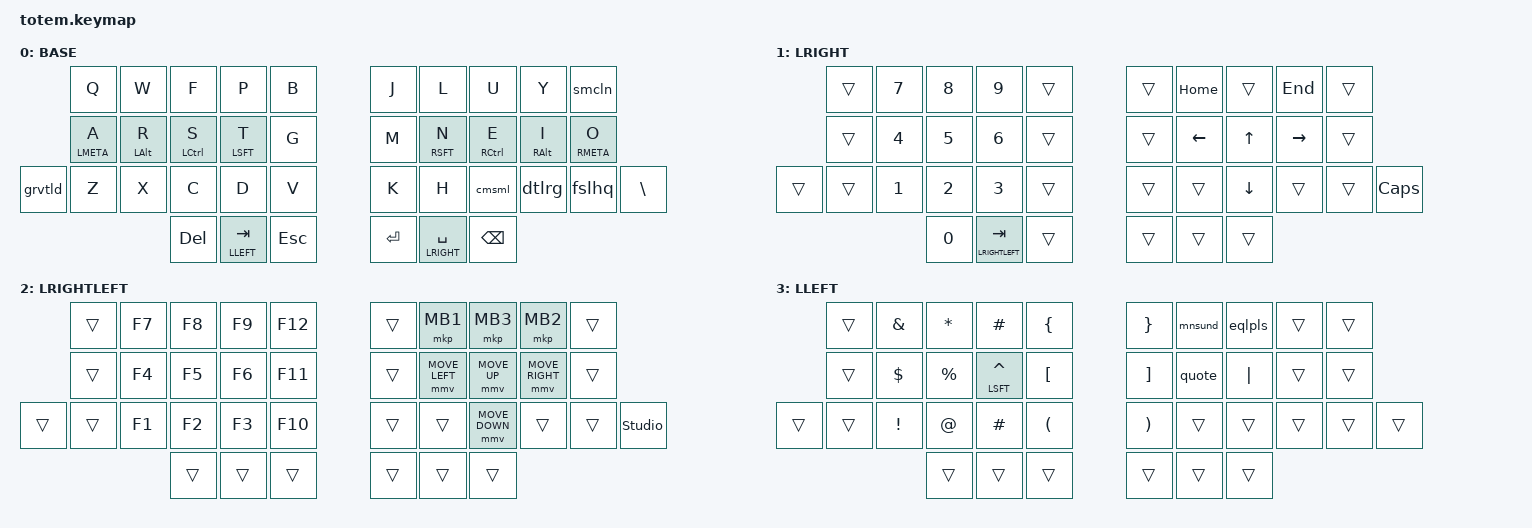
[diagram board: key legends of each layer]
//
//                                                        ▀▀▀▀▀     ▀▀▀▀▀          ▀▀█▀▀
//                                                        ▄▀▀▀▄  ▄  ▄▀▀▀▄  ▄  ▄▀▀▀▄  █  ▄▀▀▀▄
//                                                        █   █  █  █   █  █  █   █  █  █   █
//                                                         ▀▀▀   █   ▀▀▀   █   ▀▀▀   ▀   ▀▀▀
//                                                               █      ▄▄▄█▄▄▄    █   █  
//                                                               ▀      █  █  █     █▄█
//                                                             ▀▀▀▀▀    █  █  █      ▀
//                                                                      ▀  ▀  ▀
//
// ▄▄▄▄▄▄▄▄▄▄▄▄▄▄▄▄▄▄▄▄▄▄▄▄▄▄▄▄▄▄▄▄▄▄▄▄▄▄▄▄▄▄▄▄▄▄▄▄▄▄▄▄▄▄▄▄▄▄▄▄▄▄▄▄▄▄▄▄▄▄▄▄▄▄▄▄▄▄▄▄▄▄▄▄▄▄▄▄▄▄▄▄▄▄▄▄▄▄▄▄▄▄▄▄▄▄▄▄▄▄▄▄▄▄▄▄▄▄▄▄▄▄▄▄▄▄▄▄▄▄▄▄▄▄▄▄▄▄▄▄▄▄▄▄▄▄▄▄▄
       

#include <behaviors.dtsi>
#include <dt-bindings/zmk/keys.h>
#include <dt-bindings/zmk/pointing.h>
#include <dt-bindings/zmk/bt.h>
#include <dt-bindings/zmk/outputs.h>

#define BASE    0
#define LRIGHT  1
#define LRIGHTLEFT  2
#define LLEFT   3

&mt {
  quick-tap-ms = <100>;
  global-quick-tap;
  flavor = "tap-preferred";
  tapping-term-ms = <170>;
};

/ {
    // combos {
    //        compatible = "zmk,combos";
    //        combo_esc {
    //            timeout-ms = <50>;
    //            key-positions = <0 1>;
    //            bindings = <&kp ESC>;
    //        };
    //        combo_tvp {
    //            timeout-ms = <100>;
    //            key-positions = <11 12 13>;
    //            bindings = <&tog TVP1>;
    //        };
    // };

    behaviors {
        smcln: semicolon_colon {
            compatible = "zmk,behavior-mod-morph";
            #binding-cells = <0>;
            bindings = <&kp SEMICOLON>, <&kp COLON>;
            mods = <(MOD_LSFT|MOD_RSFT)>;
        };
        mt_smcln: mt_semicolon_colon {
            compatible = "zmk,behavior-hold-tap";
            #binding-cells = <2>;
            bindings = <&kp>, <&smcln>;
            tapping-term-ms = <170>;
        };
        cmsml: comma_smaller_than {
            compatible = "zmk,behavior-mod-morph";
            #binding-cells = <0>;
            bindings = <&kp COMMA>, <&kp LESS_THAN>;
            mods = <(MOD_LSFT|MOD_RSFT)>;
        };
        dtlrg: dot_larger_than {
            compatible = "zmk,behavior-mod-morph";
            #binding-cells = <0>;
            bindings = <&kp DOT>, <&kp GREATER_THAN>;
            mods = <(MOD_LSFT|MOD_RSFT)>;
        };
        fslhq: forward_slash_question {
            compatible = "zmk,behavior-mod-morph";
            #binding-cells = <0>;
            bindings = <&kp FSLH>, <&kp QUESTION>;
            mods = <(MOD_LSFT|MOD_RSFT)>;
        };
        grvtld: grave_tilde {
            compatible = "zmk,behavior-mod-morph";
            #binding-cells = <0>;
            bindings = <&kp GRAVE>, <&kp TILDE>;
            mods = <(MOD_LSFT|MOD_RSFT)>;
        };
        mnsund: minus_underscore {
            compatible = "zmk,behavior-mod-morph";
            #binding-cells = <0>;
            bindings = <&kp MINUS>, <&kp UNDERSCORE>;
            mods = <(MOD_LSFT|MOD_RSFT)>;
        };
        eqlpls: equal_plus {
            compatible = "zmk,behavior-mod-morph";
            #binding-cells = <0>;
            bindings = <&kp EQUAL>, <&kp PLUS>;
            mods = <(MOD_LSFT|MOD_RSFT)>;
        };
        quote: quote {
            compatible = "zmk,behavior-mod-morph";
            #binding-cells = <0>;
            bindings = <&kp SQT>, <&kp DQT>;
            mods = <(MOD_LSFT|MOD_RSFT)>;
        };
    };

    keymap {
        compatible = "zmk,keymap";
// ▄▄▄▄▄▄▄▄▄▄▄▄▄▄▄▄▄▄▄▄▄▄▄▄▄▄▄▄▄▄▄▄▄▄▄▄▄▄▄▄▄▄▄▄▄▄▄▄▄▄▄▄▄▄▄▄▄▄▄▄▄▄▄▄▄▄▄▄▄▄▄▄▄▄▄▄▄▄▄▄▄▄▄▄▄▄▄▄▄▄▄▄▄▄▄▄▄▄▄▄▄▄▄▄▄▄▄▄▄▄▄▄▄▄▄▄▄▄▄▄▄▄▄▄▄▄▄▄▄▄▄▄▄▄▄▄▄▄▄▄▄▄▄▄▄▄▄▄▄

        base_layer {
// ┏━━━━━━━━━━━━━━━━━━━━━━━━━━━━━━━━━━━━━━━┓
label= "BASE"                              ;
// ┗━━━━━━━━━━━━━━━━━━━━━━━━━━━━━━━━━━━━━━━┛
//             ┏━━━━━━━━━━━┳━━━━━━━━━━━┳━━━━━━━━━━━┳━━━━━━━━━━━┳━━━━━━━━━━━┓   ┏━━━━━━━━━━━┳━━━━━━━━━━━┳━━━━━━━━━━━┳━━━━━━━━━━━┳━━━━━━━━━━━┓
//             ┃     Q     ┃     W     ┃     F     ┃     P     ┃     B     ┃   ┃     J     ┃     L     ┃     U     ┃     Y     ┃   ;   :   ┃
//             ┣━━━━━━━━━━━╋━━━━━━━━━━━╋━━━━━━━━━━━╋━━━━━━━━━━━╋━━━━━━━━━━━┫   ┣━━━━━━━━━━━╋━━━━━━━━━━━╋━━━━━━━━━━━╋━━━━━━━━━━━╋━━━━━━━━━━━┫
//             ┃  A [mod]  ┃  R [alt]  ┃  S [ctrl] ┃ T [shift] ┃     G     ┃   ┃     M     ┃ N [shift] ┃  E [ctrl] ┃  I [alt]  ┃  O  [mod] ┃
// ┏━━━━━━━━━━━╋━━━━━━━━━━━╋━━━━━━━━━━━╋━━━━━━━━━━━╋━━━━━━━━━━━╋━━━━━━━━━━━┫   ┣━━━━━━━━━━━╋━━━━━━━━━━━╋━━━━━━━━━━━╋━━━━━━━━━━━╋━━━━━━━━━━━╋━━━━━━━━━━━┓
// ┃   `   ~   ┃     Z     ┃     X     ┃     C     ┃     D     ┃     V     ┃   ┃     K     ┃     H     ┃   ,   <   ┃   .   >   ┃   /   ?   ┃     \     ┃
// ┗━━━━━━━━━━━┻━━━━━━━━━━━┻━━━━━━━━━━━╋━━━━━━━━━━━╋━━━━━━━━━━━╋━━━━━━━━━━━┫   ┣━━━━━━━━━━━╋━━━━━━━━━━━╋━━━━━━━━━━━╋━━━━━━━━━━━┻━━━━━━━━━━━┻━━━━━━━━━━━┛
//                                     ┃    DEL    ┃    TAB    ┃    ESC    ┃   ┃   ENTER   ┃    SPC    ┃   BSPC    ┃
//                                     ┗━━━━━━━━━━━┻━━━━━━━━━━━┻━━━━━━━━━━━┛   ┗━━━━━━━━━━━┻━━━━━━━━━━━┻━━━━━━━━━━━┛
 bindings = <
// ╷           ╷           ╷           ╷           ╷           ╷           ╷   ╷           ╷           ╷           ╷           ╷           ╷           ╷

                &kp Q       &kp W       &kp F       &kp P       &kp B           &kp J       &kp L       &kp U       &kp Y       &smcln
                &mt LMETA A &mt LALT R  &mt LCTL S  &mt LSFT T  &kp G           &kp M       &mt RSFT N  &mt RCTL E  &mt RALT I  &mt RMETA O
    &grvtld     &kp Z       &kp X       &kp C       &kp D       &kp V           &kp K       &kp H       &cmsml      &dtlrg      &fslhq     &kp BSLH
                                        &kp DEL   &lt LLEFT TAB &kp ESC       &kp RET  &lt LRIGHT SPC &kp BSPC
                        >;
                };

// ▄▄▄▄▄▄▄▄▄▄▄▄▄▄▄▄▄▄▄▄▄▄▄▄▄▄▄▄▄▄▄▄▄▄▄▄▄▄▄▄▄▄▄▄▄▄▄▄▄▄▄▄▄▄▄▄▄▄▄▄▄▄▄▄▄▄▄▄▄▄▄▄▄▄▄▄▄▄▄▄▄▄▄▄▄▄▄▄▄▄▄▄▄▄▄▄▄▄▄▄▄▄▄▄▄▄▄▄▄▄▄▄▄▄▄▄▄▄▄▄▄▄▄▄▄▄▄▄▄▄▄▄▄▄▄▄▄▄▄▄▄▄▄▄▄▄▄▄▄

        right_layer {
// ┏━━━━━━━━━━━━━━━━━━━━━━━━━━━━━━━━━━━━━━━┓
label= "LRIGHT"                            ;
// ┗━━━━━━━━━━━━━━━━━━━━━━━━━━━━━━━━━━━━━━━┛
//             ┏━━━━━━━━━━━┳━━━━━━━━━━━┳━━━━━━━━━━━┳━━━━━━━━━━━┳━━━━━━━━━━━┓   ┏━━━━━━━━━━━┳━━━━━━━━━━━┳━━━━━━━━━━━┳━━━━━━━━━━━┳━━━━━━━━━━━┓
//             ┃           ┃     7     ┃     8     ┃     9     ┃           ┃   ┃           ┃    HOME   ┃           ┃    END    ┃           ┃
//             ┣━━━━━━━━━━━╋━━━━━━━━━━━╋━━━━━━━━━━━╋━━━━━━━━━━━╋━━━━━━━━━━━┫   ┣━━━━━━━━━━━╋━━━━━━━━━━━╋━━━━━━━━━━━╋━━━━━━━━━━━╋━━━━━━━━━━━┫
//             ┃           ┃     4     ┃     5     ┃     6     ┃           ┃   ┃           ┃    LEFT   ┃    UP     ┃   RIGHT   ┃           ┃
// ┏━━━━━━━━━━━╋━━━━━━━━━━━╋━━━━━━━━━━━╋━━━━━━━━━━━╋━━━━━━━━━━━╋━━━━━━━━━━━┫   ┣━━━━━━━━━━━╋━━━━━━━━━━━╋━━━━━━━━━━━╋━━━━━━━━━━━╋━━━━━━━━━━━╋━━━━━━━━━━━┓
// ┃           ┃           ┃     1     ┃     2     ┃     3     ┃           ┃   ┃           ┃           ┃    DOWN   ┃           ┃           ┃   CAPS    ┃
// ┗━━━━━━━━━━━┻━━━━━━━━━━━┻━━━━━━━━━━━╋━━━━━━━━━━━╋━━━━━━━━━━━╋━━━━━━━━━━━┫   ┣━━━━━━━━━━━╋━━━━━━━━━━━╋━━━━━━━━━━━╋━━━━━━━━━━━┻━━━━━━━━━━━┻━━━━━━━━━━━┛
//                                     ┃     0     ┃    TAB    ┃           ┃   ┃           ┃           ┃           ┃
//                                     ┗━━━━━━━━━━━┻━━━━━━━━━━━┻━━━━━━━━━━━┛   ┗━━━━━━━━━━━┻━━━━━━━━━━━┻━━━━━━━━━━━┛
 bindings = <
// ╷           ╷           ╷           ╷           ╷           ╷           ╷   ╷           ╷           ╷           ╷           ╷           ╷           ╷

                &trans     &kp N7      &kp N8      &kp N9      &trans          &trans      &kp HOME    &trans      &kp END     &trans
                &trans     &kp N4      &kp N5      &kp N6      &trans          &trans      &kp LEFT    &kp UP      &kp RIGHT   &trans
    &trans      &trans     &kp N1      &kp N2      &kp N3      &trans          &trans      &trans      &kp DOWN    &trans      &trans      &kp CAPS
                                       &kp N0   &lt LRIGHTLEFT TAB  &trans     &trans      &trans      &trans
                        >;
                };

// ▄▄▄▄▄▄▄▄▄▄▄▄▄▄▄▄▄▄▄▄▄▄▄▄▄▄▄▄▄▄▄▄▄▄▄▄▄▄▄▄▄▄▄▄▄▄▄▄▄▄▄▄▄▄▄▄▄▄▄▄▄▄▄▄▄▄▄▄▄▄▄▄▄▄▄▄▄▄▄▄▄▄▄▄▄▄▄▄▄▄▄▄▄▄▄▄▄▄▄▄▄▄▄▄▄▄▄▄▄▄▄▄▄▄▄▄▄▄▄▄▄▄▄▄▄▄▄▄▄▄▄▄▄▄▄▄▄▄▄▄▄▄▄▄▄▄▄▄▄

        right_left_layer {
// ┏━━━━━━━━━━━━━━━━━━━━━━━━━━━━━━━━━━━━━━━┓
label= "LRIGHTLEFT"                            ;
// ┗━━━━━━━━━━━━━━━━━━━━━━━━━━━━━━━━━━━━━━━┛
//             ┏━━━━━━━━━━━┳━━━━━━━━━━━┳━━━━━━━━━━━┳━━━━━━━━━━━┳━━━━━━━━━━━┓   ┏━━━━━━━━━━━┳━━━━━━━━━━━┳━━━━━━━━━━━┳━━━━━━━━━━━┳━━━━━━━━━━━┓
//             ┃           ┃    F7     ┃    F8     ┃    F9     ┃    F12    ┃   ┃           ┃ MSE LCLK  ┃  MSE MCLK ┃ MSE RCLK  ┃           ┃
//             ┣━━━━━━━━━━━╋━━━━━━━━━━━╋━━━━━━━━━━━╋━━━━━━━━━━━╋━━━━━━━━━━━┫   ┣━━━━━━━━━━━╋━━━━━━━━━━━╋━━━━━━━━━━━╋━━━━━━━━━━━╋━━━━━━━━━━━┫
//             ┃           ┃    F4     ┃    F5     ┃    F6     ┃    F11    ┃   ┃           ┃ MSE LEFT  ┃  MSE UP   ┃ MSE RIGHT ┃           ┃
// ┏━━━━━━━━━━━╋━━━━━━━━━━━╋━━━━━━━━━━━╋━━━━━━━━━━━╋━━━━━━━━━━━╋━━━━━━━━━━━┫   ┣━━━━━━━━━━━╋━━━━━━━━━━━╋━━━━━━━━━━━╋━━━━━━━━━━━╋━━━━━━━━━━━╋━━━━━━━━━━━┓
// ┃           ┃           ┃    F1     ┃    F2     ┃    F3     ┃    F10    ┃   ┃           ┃           ┃  MSE DOWN ┃           ┃           ┃ ZMK Unlock┃
// ┗━━━━━━━━━━━┻━━━━━━━━━━━┻━━━━━━━━━━━╋━━━━━━━━━━━╋━━━━━━━━━━━╋━━━━━━━━━━━┫   ┣━━━━━━━━━━━╋━━━━━━━━━━━╋━━━━━━━━━━━╋━━━━━━━━━━━┻━━━━━━━━━━━┻━━━━━━━━━━━┛
//                                     ┃           ┃           ┃           ┃   ┃           ┃           ┃           ┃
//                                     ┗━━━━━━━━━━━┻━━━━━━━━━━━┻━━━━━━━━━━━┛   ┗━━━━━━━━━━━┻━━━━━━━━━━━┻━━━━━━━━━━━┛
 bindings = <
// ╷           ╷           ╷           ╷           ╷           ╷           ╷   ╷           ╷           ╷           ╷           ╷           ╷           ╷

                &trans     &kp F7      &kp F8      &kp F9      &kp F12         &trans      &mkp MB1    &mkp MB3    &mkp MB2    &trans
                &trans     &kp F4      &kp F5      &kp F6      &kp F11         &trans &mmv MOVE_LEFT &mmv MOVE_UP &mmv MOVE_RIGHT &trans
    &trans      &trans     &kp F1      &kp F2      &kp F3      &kp F10         &trans      &trans  &mmv MOVE_DOWN  &trans      &trans      &studio_unlock
                                       &trans      &trans      &trans          &trans      &trans      &trans
                        >;
                };

// ▄▄▄▄▄▄▄▄▄▄▄▄▄▄▄▄▄▄▄▄▄▄▄▄▄▄▄▄▄▄▄▄▄▄▄▄▄▄▄▄▄▄▄▄▄▄▄▄▄▄▄▄▄▄▄▄▄▄▄▄▄▄▄▄▄▄▄▄▄▄▄▄▄▄▄▄▄▄▄▄▄▄▄▄▄▄▄▄▄▄▄▄▄▄▄▄▄▄▄▄▄▄▄▄▄▄▄▄▄▄▄▄▄▄▄▄▄▄▄▄▄▄▄▄▄▄▄▄▄▄▄▄▄▄▄▄▄▄▄▄▄▄▄▄▄▄▄▄▄

        left_layer {
// ┏━━━━━━━━━━━━━━━━━━━━━━━━━━━━━━━━━━━━━━━┓
label= "LLEFT"                             ;
// ┗━━━━━━━━━━━━━━━━━━━━━━━━━━━━━━━━━━━━━━━┛
//             ┏━━━━━━━━━━━┳━━━━━━━━━━━┳━━━━━━━━━━━┳━━━━━━━━━━━┳━━━━━━━━━━━┓   ┏━━━━━━━━━━━┳━━━━━━━━━━━┳━━━━━━━━━━━┳━━━━━━━━━━━┳━━━━━━━━━━━┓
//             ┃           ┃     &     ┃     *     ┃           ┃     {     ┃   ┃     }     ┃   -   _   ┃   =   +   ┃           ┃           ┃
//             ┣━━━━━━━━━━━╋━━━━━━━━━━━╋━━━━━━━━━━━╋━━━━━━━━━━━╋━━━━━━━━━━━┫   ┣━━━━━━━━━━━╋━━━━━━━━━━━╋━━━━━━━━━━━╋━━━━━━━━━━━╋━━━━━━━━━━━┫
//             ┃           ┃     $     ┃     %     ┃     ^     ┃     [     ┃   ┃     ]     ┃   '   "   ┃     |     ┃           ┃           ┃
// ┏━━━━━━━━━━━╋━━━━━━━━━━━╋━━━━━━━━━━━╋━━━━━━━━━━━╋━━━━━━━━━━━╋━━━━━━━━━━━┫   ┣━━━━━━━━━━━╋━━━━━━━━━━━╋━━━━━━━━━━━╋━━━━━━━━━━━╋━━━━━━━━━━━╋━━━━━━━━━━━┓
// ┃           ┃           ┃     !     ┃     @     ┃     #     ┃     (     ┃   ┃     )     ┃           ┃           ┃           ┃           ┃           ┃
// ┗━━━━━━━━━━━┻━━━━━━━━━━━┻━━━━━━━━━━━╋━━━━━━━━━━━╋━━━━━━━━━━━╋━━━━━━━━━━━┫   ┣━━━━━━━━━━━╋━━━━━━━━━━━╋━━━━━━━━━━━╋━━━━━━━━━━━┻━━━━━━━━━━━┻━━━━━━━━━━━┛
//                                     ┃           ┃           ┃           ┃   ┃           ┃           ┃           ┃
//                                     ┗━━━━━━━━━━━┻━━━━━━━━━━━┻━━━━━━━━━━━┛   ┗━━━━━━━━━━━┻━━━━━━━━━━━┻━━━━━━━━━━━┛
 bindings = <
// ╷           ╷           ╷           ╷           ╷           ╷           ╷   ╷           ╷           ╷           ╷           ╷           ╷           ╷

                &trans     &kp AMPS    &kp STAR    &kp HASH    &kp LBRC        &kp RBRC    &mnsund     &eqlpls     &trans      &trans
                &trans     &kp DLLR    &kp PRCNT &mt LSFT CARET &kp LBKT       &kp RBKT    &quote      &kp PIPE    &trans      &trans
    &trans      &trans     &kp EXCL    &kp AT      &kp HASH    &kp LPAR        &kp RPAR    &trans      &trans      &trans      &trans      &trans
                                       &trans      &trans      &trans          &trans      &trans      &trans
                        >;
                };

        };
};

// vim: ft=dts
